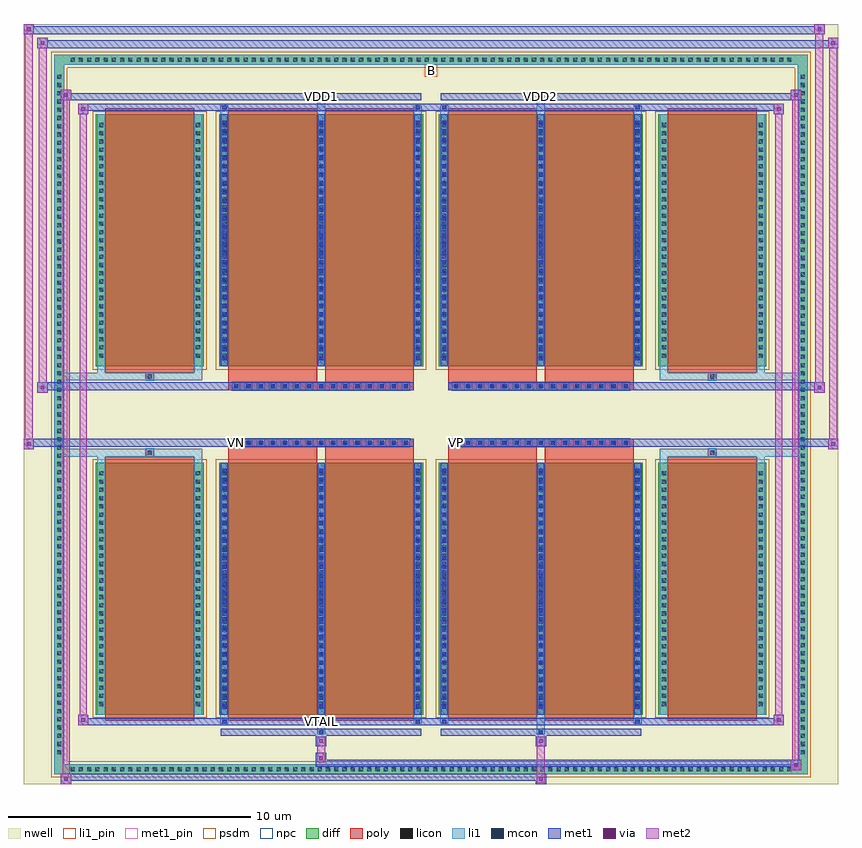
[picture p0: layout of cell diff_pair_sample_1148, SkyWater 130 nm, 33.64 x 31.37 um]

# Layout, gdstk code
import gdstk
lib = gdstk.Library(unit=1e-6, precision=5e-09)
def R(c, l, rs):  # rectangles x0, y0, x1, y1
    for r in rs: c.add(gdstk.rectangle(r[:2], r[2:], *l))
def A(c, l, x, y, w, h, nx, ny, dx, dy):  # array of equal rectangles
    R(c, l, [(x+i*dx, y+j*dy, x+i*dx+w, y+j*dy+h) for i in range(nx) for j in range(ny)])
def P(c, l, *ps):  # polygons
    for p in ps: c.add(gdstk.Polygon(p, *l))
nwell = (64, 20)
diff = (65, 20)
poly = (66, 20)
licon = (66, 44)
li1_pin = (67, 16)
li1 = (67, 20)
mcon = (67, 44)
met1_pin = (68, 16)
met1 = (68, 20)
via = (68, 44)
met2 = (69, 20)
psdm = (94, 20)
npc = (95, 20)

diff_pair_sample_1148 = lib.new_cell('diff_pair_sample_1148')
R(diff_pair_sample_1148, nwell, [(-16.82,-15.25,16.82,16.12), (-14.14,-13.44,-0.01,-0.8), (0.01,-13.44,14.14,-0.8), (-14.14,0.8,-0.01,13.44), (0.01,0.8,14.14,13.44)])
A(diff_pair_sample_1148, diff, -14.995, -14.85, 0.41, 0.41, 88, 2, 0.34, 29.29)
A(diff_pair_sample_1148, diff, -15.55, -14.145, 0.41, 0.41, 1, 83, 0, 0.34)
A(diff_pair_sample_1148, diff, 15.14, -14.145, 0.41, 0.41, 1, 83, 0, 0.34)
R(diff_pair_sample_1148, diff, [(-14.995,-14.85,14.995,-14.44), (-15.55,-14.145,-15.14,14.145), (15.14,-14.145,15.55,14.145), (-13.83,-12.395,-9.39,-1.985), (-8.75,-12.395,-0.32,-1.985), (0.32,-12.395,8.75,-1.985), (9.39,-12.395,13.83,-1.985), (-13.83,1.985,-9.39,12.395), (-8.75,1.985,-0.32,12.395), (0.32,1.985,8.75,12.395), (9.39,1.985,13.83,12.395), (-14.995,14.44,14.995,14.85)])
P(diff_pair_sample_1148, diff, [(15.55,14.85),(-15.55,14.85),(-15.55,-14.44),(-15.14,-14.44),(-15.14,14.44),(15.14,14.44),(15.14,-14.44),(-15.14,-14.44),(-15.55,-14.44),(-15.55,-14.85),(15.55,-14.85)])
A(diff_pair_sample_1148, poly, -8.2, -1.33, 0.33, 0.33, 15, 2, 0.5, 2.33)
A(diff_pair_sample_1148, poly, 0.87, -1.33, 0.33, 0.33, 15, 2, 0.5, 2.33)
R(diff_pair_sample_1148, poly, [(-13.44,-12.645,-9.78,-1.735), (-8.36,-12.645,-4.7,-1.735), (-4.37,-12.645,-0.71,-1.735), (0.71,-12.645,4.37,-1.735), (4.7,-12.645,8.36,-1.735), (9.78,-12.645,13.44,-1.735), (-11.775,-1.735,-11.445,-1.405), (-11.775,-1.735,-11.445,-1.405), (-8.36,-1.735,-4.7,-1.33), (-4.37,-1.735,-0.71,-1.33), (0.71,-1.735,4.37,-1.33), (4.7,-1.735,8.36,-1.33), (11.445,-1.735,11.775,-1.405), (11.445,-1.735,11.775,-1.405), (-8.36,-1.33,-0.71,-1), (0.71,-1.33,8.36,-1), (-8.36,1,-0.71,1.33), (0.71,1,8.36,1.33), (-8.36,1.33,-4.7,1.735), (-4.37,1.33,-0.71,1.735), (0.71,1.33,4.37,1.735), (4.7,1.33,8.36,1.735), (-11.775,1.405,-11.445,1.735), (-11.775,1.405,-11.445,1.735), (11.445,1.405,11.775,1.735), (11.445,1.405,11.775,1.735), (-13.44,1.735,-9.78,12.645), (-8.36,1.735,-4.7,12.645), (-4.37,1.735,-0.71,12.645), (0.71,1.735,4.37,12.645), (4.7,1.735,8.36,12.645), (9.78,1.735,13.44,12.645)])
A(diff_pair_sample_1148, licon, -14.875, -14.73, 0.17, 0.17, 88, 2, 0.34, 29.29)
A(diff_pair_sample_1148, licon, -15.43, -14.025, 0.17, 0.17, 1, 83, 0, 0.34)
A(diff_pair_sample_1148, licon, 15.26, -14.025, 0.17, 0.17, 1, 83, 0, 0.34)
A(diff_pair_sample_1148, licon, -13.69, -12.035, 0.17, 0.17, 1, 29, 0, 0.34)
A(diff_pair_sample_1148, licon, -9.7, -12.035, 0.17, 0.17, 1, 29, 0, 0.34)
A(diff_pair_sample_1148, licon, -8.61, -12.035, 0.17, 0.17, 3, 29, 3.99, 0.34)
A(diff_pair_sample_1148, licon, 0.46, -12.035, 0.17, 0.17, 3, 29, 3.99, 0.34)
A(diff_pair_sample_1148, licon, 9.53, -12.035, 0.17, 0.17, 1, 29, 0, 0.34)
A(diff_pair_sample_1148, licon, 13.52, -12.035, 0.17, 0.17, 1, 29, 0, 0.34)
A(diff_pair_sample_1148, licon, -8.12, -1.25, 0.17, 0.17, 15, 2, 0.5, 2.33)
A(diff_pair_sample_1148, licon, 0.95, -1.25, 0.17, 0.17, 15, 2, 0.5, 2.33)
A(diff_pair_sample_1148, licon, -13.69, 2.345, 0.17, 0.17, 1, 29, 0, 0.34)
A(diff_pair_sample_1148, licon, -9.7, 2.345, 0.17, 0.17, 1, 29, 0, 0.34)
A(diff_pair_sample_1148, licon, -8.61, 2.345, 0.17, 0.17, 3, 29, 3.99, 0.34)
A(diff_pair_sample_1148, licon, 0.46, 2.345, 0.17, 0.17, 3, 29, 3.99, 0.34)
A(diff_pair_sample_1148, licon, 9.53, 2.345, 0.17, 0.17, 1, 29, 0, 0.34)
A(diff_pair_sample_1148, licon, 13.52, 2.345, 0.17, 0.17, 1, 29, 0, 0.34)
R(diff_pair_sample_1148, licon, [(-11.695,-1.655,-11.525,-1.485), (11.525,-1.655,11.695,-1.485), (-11.695,1.485,-11.525,1.655), (11.525,1.485,11.695,1.655)])
R(diff_pair_sample_1148, li1_pin, [(-0.25,13.94,0.25,14.44)])
A(diff_pair_sample_1148, li1, -14.955, -14.81, 0.33, 0.33, 88, 2, 0.34, 29.29)
A(diff_pair_sample_1148, li1, -15.51, -14.105, 0.33, 0.33, 1, 83, 0, 0.34)
A(diff_pair_sample_1148, li1, 15.18, -14.105, 0.33, 0.33, 1, 83, 0, 0.34)
A(diff_pair_sample_1148, li1, -8.69, -12.395, 0.33, 10.41, 3, 2, 3.99, 14.38)
A(diff_pair_sample_1148, li1, 0.38, -12.395, 0.33, 10.41, 3, 2, 3.99, 14.38)
A(diff_pair_sample_1148, li1, -8.61, -12.135, 0.17, 0.17, 3, 28, 3.99, 0.36)
A(diff_pair_sample_1148, li1, -8.61, -12.135, 0.17, 9.89, 3, 2, 3.99, 14.38)
A(diff_pair_sample_1148, li1, 0.46, -12.135, 0.17, 0.17, 3, 28, 3.99, 0.36)
A(diff_pair_sample_1148, li1, 0.46, -12.135, 0.17, 9.89, 3, 2, 3.99, 14.38)
A(diff_pair_sample_1148, li1, -13.77, -12.115, 0.33, 0.33, 1, 29, 0, 0.34)
A(diff_pair_sample_1148, li1, -9.78, -12.115, 0.33, 0.33, 1, 29, 0, 0.34)
A(diff_pair_sample_1148, li1, -8.69, -12.115, 0.33, 0.33, 3, 29, 3.99, 0.34)
A(diff_pair_sample_1148, li1, 0.38, -12.115, 0.33, 0.33, 3, 29, 3.99, 0.34)
A(diff_pair_sample_1148, li1, 9.45, -12.115, 0.33, 0.33, 1, 29, 0, 0.34)
A(diff_pair_sample_1148, li1, 13.44, -12.115, 0.33, 0.33, 1, 29, 0, 0.34)
A(diff_pair_sample_1148, li1, -8.2, -1.33, 0.33, 0.33, 15, 2, 0.5, 2.33)
A(diff_pair_sample_1148, li1, 0.87, -1.33, 0.33, 0.33, 15, 2, 0.5, 2.33)
A(diff_pair_sample_1148, li1, -8.61, 2.245, 0.17, 0.17, 3, 28, 3.99, 0.36)
A(diff_pair_sample_1148, li1, 0.46, 2.245, 0.17, 0.17, 3, 28, 3.99, 0.36)
A(diff_pair_sample_1148, li1, -13.77, 2.265, 0.33, 0.33, 1, 29, 0, 0.34)
A(diff_pair_sample_1148, li1, -9.78, 2.265, 0.33, 0.33, 1, 29, 0, 0.34)
A(diff_pair_sample_1148, li1, -8.69, 2.265, 0.33, 0.33, 3, 29, 3.99, 0.34)
A(diff_pair_sample_1148, li1, 0.38, 2.265, 0.33, 0.33, 3, 29, 3.99, 0.34)
A(diff_pair_sample_1148, li1, 9.45, 2.265, 0.33, 0.33, 1, 29, 0, 0.34)
A(diff_pair_sample_1148, li1, 13.44, 2.265, 0.33, 0.33, 1, 29, 0, 0.34)
R(diff_pair_sample_1148, li1, [(-15.55,-14.85,-15.14,-14.44), (-15.55,-14.85,-15.14,-14.44), (-15.14,-14.85,15.14,-14.44), (15.14,-14.85,15.55,-14.44), (15.14,-14.85,15.55,-14.44), (-15.55,-14.44,-15.14,14.44), (15.14,-14.44,15.55,14.44), (-4.7,-13.2,-4.37,-12.395), (-4.62,-13.2,-4.45,-13.03), (4.37,-13.2,4.7,-12.395), (4.45,-13.2,4.62,-13.03), (-8.69,-12.77,-8.36,-12.395), (-8.61,-12.77,-8.44,-12.6), (-0.71,-12.77,-0.38,-12.395), (-0.63,-12.77,-0.46,-12.6), (0.38,-12.77,0.71,-12.395), (0.46,-12.77,0.63,-12.6), (8.36,-12.77,8.69,-12.395), (8.44,-12.77,8.61,-12.6), (-13.77,-12.395,-13.44,-1.985), (-9.78,-12.395,-9.45,-1.985), (9.45,-12.395,9.78,-1.985), (13.44,-12.395,13.77,-1.985), (-13.77,-1.985,-13.44,-1.405), (-9.78,-1.985,-9.45,-1.405), (9.45,-1.985,9.78,-1.405), (13.44,-1.985,13.77,-1.405), (-15.55,-1.735,-11.775,-1.405), (-13.77,-1.735,-11.775,-1.405), (-11.775,-1.735,-11.445,-1.405), (-11.445,-1.735,-9.45,-1.405), (9.45,-1.735,11.445,-1.405), (11.445,-1.735,11.775,-1.405), (11.445,-1.735,15.55,-1.405), (11.775,-1.735,13.77,-1.405), (-15.55,1.405,-11.775,1.735), (-13.77,1.405,-11.775,1.735), (-13.77,1.405,-13.44,1.985), (-11.775,1.405,-11.445,1.735), (-11.445,1.405,-9.45,1.735), (-9.78,1.405,-9.45,1.985), (9.45,1.405,11.445,1.735), (9.45,1.405,9.78,1.985), (11.445,1.405,11.775,1.735), (11.445,1.405,15.55,1.735), (11.775,1.405,13.77,1.735), (13.44,1.405,13.77,1.985), (-13.77,1.985,-13.44,12.395), (-9.78,1.985,-9.45,12.395), (9.45,1.985,9.78,12.395), (13.44,1.985,13.77,12.395), (-8.69,12.395,-8.36,12.77), (-4.7,12.395,-4.37,13.2), (-0.71,12.395,-0.38,12.77), (0.38,12.395,0.71,12.77), (4.37,12.395,4.7,13.2), (8.36,12.395,8.69,12.77), (-8.61,12.6,-8.44,12.77), (-0.63,12.6,-0.46,12.77), (0.46,12.6,0.63,12.77), (8.44,12.6,8.61,12.77), (-4.62,13.03,-4.45,13.2), (4.45,13.03,4.62,13.2), (-15.55,14.44,-15.14,14.85), (-15.55,14.44,-15.14,14.85), (-15.14,14.44,15.14,14.85), (15.14,14.44,15.55,14.85), (15.14,14.44,15.55,14.85)])
A(diff_pair_sample_1148, mcon, -8.61, -12.135, 0.17, 0.17, 3, 28, 3.99, 0.36)
A(diff_pair_sample_1148, mcon, 0.46, -12.135, 0.17, 0.17, 3, 28, 3.99, 0.36)
A(diff_pair_sample_1148, mcon, -8.12, -1.25, 0.17, 0.17, 15, 2, 0.5, 2.33)
A(diff_pair_sample_1148, mcon, 0.95, -1.25, 0.17, 0.17, 15, 2, 0.5, 2.33)
A(diff_pair_sample_1148, mcon, -8.61, 2.245, 0.17, 0.17, 3, 28, 3.99, 0.36)
A(diff_pair_sample_1148, mcon, 0.46, 2.245, 0.17, 0.17, 3, 28, 3.99, 0.36)
R(diff_pair_sample_1148, mcon, [(-4.62,-13.2,-4.45,-13.03), (4.45,-13.2,4.62,-13.03), (-8.61,-12.77,-8.44,-12.6), (-0.63,-12.77,-0.46,-12.6), (0.46,-12.77,0.63,-12.6), (8.44,-12.77,8.61,-12.6), (-8.61,12.6,-8.44,12.77), (-0.63,12.6,-0.46,12.77), (0.46,12.6,0.63,12.77), (8.44,12.6,8.61,12.77), (-4.62,13.03,-4.45,13.2), (4.45,13.03,4.62,13.2)])
R(diff_pair_sample_1148, met1_pin, [(-4.67,-12.81,-4.4,-12.54), (-8.17,-1.29,-7.9,-1.02), (0.9,-1.29,1.17,-1.02), (-4.67,12.99,-4.4,13.26), (4.4,12.99,4.67,13.26)])
A(diff_pair_sample_1148, met1, -8.67, -12.395, 0.29, 10.41, 3, 2, 3.99, 14.38)
A(diff_pair_sample_1148, met1, 0.4, -12.395, 0.29, 10.41, 3, 2, 3.99, 14.38)
A(diff_pair_sample_1148, met1, -8.67, -12.195, 0.29, 0.29, 3, 28, 3.99, 0.36)
A(diff_pair_sample_1148, met1, 0.4, -12.195, 0.29, 0.29, 3, 28, 3.99, 0.36)
A(diff_pair_sample_1148, met1, -8.18, -1.31, 0.29, 0.29, 15, 2, 0.5, 2.33)
A(diff_pair_sample_1148, met1, 0.89, -1.31, 0.29, 0.29, 15, 2, 0.5, 2.33)
A(diff_pair_sample_1148, met1, -8.67, 2.185, 0.29, 0.29, 3, 28, 3.99, 0.36)
A(diff_pair_sample_1148, met1, 0.4, 2.185, 0.29, 0.29, 3, 28, 3.99, 0.36)
R(diff_pair_sample_1148, met1, [(-15.28,-15.25,-14.85,-14.82), (4.32,-15.25,4.75,-14.82), (-15.28,-15.11,4.75,-14.82), (14.85,-14.68,15.28,-14.25), (-4.75,-14.54,15.28,-14.25), (-4.75,-14.4,-4.32,-13.97), (-4.75,-13.69,-4.32,-13.26), (4.32,-13.69,4.75,-13.26), (-8.67,-13.26,-0.4,-12.97), (-4.68,-13.26,-4.39,-12.97), (0.4,-13.26,8.67,-12.97), (4.39,-13.26,4.68,-12.97), (-14.57,-12.83,-14.14,-12.4), (-14.57,-12.83,-8.67,-12.54), (-8.67,-12.83,-8.38,-12.54), (-8.67,-12.83,-0.4,-12.54), (-0.69,-12.83,-0.4,-12.54), (-0.4,-12.83,0.4,-12.54), (0.4,-12.83,0.69,-12.54), (0.4,-12.83,8.67,-12.54), (8.38,-12.83,8.67,-12.54), (8.67,-12.83,14.57,-12.54), (14.14,-12.83,14.57,-12.4), (-16.82,-1.43,-16.39,-1), (16.39,-1.43,16.82,-1), (-16.82,-1.33,-0.71,-1), (-8.36,-1.33,-0.71,-1), (0.71,-1.33,8.36,-1), (0.71,-1.33,16.82,-1), (-16.25,0.9,-15.82,1.33), (15.82,0.9,16.25,1.33), (-16.25,1,-8.36,1.33), (-8.36,1,-0.71,1.33), (0.71,1,8.36,1.33), (8.36,1,16.25,1.33), (-14.57,12.4,-14.14,12.83), (14.14,12.4,14.57,12.83), (-14.57,12.54,-8.67,12.83), (-8.67,12.54,-8.38,12.83), (-8.67,12.54,-0.4,12.83), (-0.69,12.54,-0.4,12.83), (-0.4,12.54,0.4,12.83), (0.4,12.54,0.69,12.83), (0.4,12.54,8.67,12.83), (8.38,12.54,8.67,12.83), (8.67,12.54,14.57,12.83), (-15.28,12.97,-14.85,13.4), (-15.28,12.97,-8.67,13.26), (-8.67,12.97,-0.4,13.26), (-4.68,12.97,-4.39,13.26), (0.4,12.97,8.67,13.26), (4.39,12.97,4.68,13.26), (8.67,12.97,15.28,13.26), (14.85,12.97,15.28,13.4), (-16.25,15.12,-15.82,15.55), (-16.25,15.12,-14.14,15.45), (-14.14,15.12,14.14,15.45), (14.14,15.12,16.82,15.45), (16.39,15.12,16.82,15.55), (-16.82,15.69,-16.39,16.12), (-16.82,15.69,-14.14,16.02), (-14.14,15.69,14.14,16.02), (14.14,15.69,16.25,16.02), (15.82,15.69,16.25,16.12)])
R(diff_pair_sample_1148, via, [(-15.14,-15.11,-14.99,-14.96), (4.46,-15.11,4.61,-14.96), (14.99,-14.54,15.14,-14.39), (-4.61,-14.26,-4.46,-14.11), (-4.61,-13.55,-4.46,-13.4), (4.46,-13.55,4.61,-13.4), (-14.43,-12.69,-14.28,-12.54), (14.28,-12.69,14.43,-12.54), (-16.68,-1.29,-16.53,-1.14), (16.53,-1.29,16.68,-1.14), (-16.11,1.04,-15.96,1.19), (15.96,1.04,16.11,1.19), (-14.43,12.54,-14.28,12.69), (14.28,12.54,14.43,12.69), (-15.14,13.11,-14.99,13.26), (14.99,13.11,15.14,13.26), (-16.11,15.26,-15.96,15.41), (16.53,15.26,16.68,15.41), (-16.68,15.83,-16.53,15.98), (15.96,15.83,16.11,15.98)])
R(diff_pair_sample_1148, met2, [(-15.28,-15.25,-14.85,-14.82), (-15.21,-15.25,-14.92,13.4), (-14.92,-15.25,-14.85,-14.82), (-15.23,-15.2,-14.9,-14.87), (4.37,-15.2,4.7,-14.87), (4.37,-14.87,4.7,-13.64), (14.85,-14.68,15.28,-14.25), (14.92,-14.68,15.21,13.4), (15.21,-14.68,15.28,-14.25), (14.9,-14.63,15.23,-14.3), (-4.7,-14.35,-4.37,-14.02), (-4.7,-14.02,-4.37,-13.64), (-4.7,-13.64,-4.37,-13.31), (4.37,-13.64,4.7,-13.31), (-14.57,-12.83,-14.14,-12.4), (-14.5,-12.83,-14.21,12.83), (-14.21,-12.83,-14.14,-12.4), (14.14,-12.83,14.57,-12.4), (14.21,-12.83,14.5,12.83), (14.5,-12.83,14.57,-12.4), (-14.52,-12.78,-14.19,-12.45), (14.19,-12.78,14.52,-12.45), (-16.82,-1.43,-16.39,-1), (-16.77,-1.43,-16.44,16.12), (-16.44,-1.43,-16.39,-1), (16.39,-1.43,16.82,-1), (16.44,-1.43,16.77,15.55), (16.77,-1.43,16.82,-1), (-16.77,-1.38,-16.44,-1.05), (16.44,-1.38,16.77,-1.05), (-16.25,0.9,-15.82,1.33), (-16.2,0.9,-15.87,15.55), (-15.87,0.9,-15.82,1.33), (15.82,0.9,16.25,1.33), (15.87,0.9,16.2,16.12), (16.2,0.9,16.25,1.33), (-16.2,0.95,-15.87,1.28), (15.87,0.95,16.2,1.28), (-14.57,12.4,-14.14,12.83), (-14.21,12.4,-14.14,12.83), (14.14,12.4,14.57,12.83), (14.5,12.4,14.57,12.83), (-14.52,12.45,-14.19,12.78), (14.19,12.45,14.52,12.78), (-15.28,12.97,-14.85,13.4), (-14.92,12.97,-14.85,13.4), (14.85,12.97,15.28,13.4), (15.21,12.97,15.28,13.4), (-15.23,13.02,-14.9,13.35), (14.9,13.02,15.23,13.35), (-16.25,15.12,-15.82,15.55), (-15.87,15.12,-15.82,15.55), (16.39,15.12,16.82,15.55), (16.77,15.12,16.82,15.55), (-16.2,15.17,-15.87,15.5), (16.44,15.17,16.77,15.5), (-16.82,15.69,-16.39,16.12), (-16.44,15.69,-16.39,16.12), (15.82,15.69,16.25,16.12), (16.2,15.69,16.25,16.12), (-16.77,15.74,-16.44,16.07), (15.87,15.74,16.2,16.07)])
R(diff_pair_sample_1148, psdm, [(-13.96,-12.525,-9.26,-1.855), (-8.88,-12.525,-0.19,-1.855), (0.19,-12.525,8.88,-1.855), (9.26,-12.525,13.96,-1.855), (-13.96,1.855,-9.26,12.525), (-8.88,1.855,-0.19,12.525), (0.19,1.855,8.88,12.525), (9.26,1.855,13.96,12.525)])
P(diff_pair_sample_1148, psdm, [(15.68,14.98),(-15.68,14.98),(-15.68,-14.31),(-15.01,-14.31),(-15.01,14.31),(15.01,14.31),(15.01,-14.31),(-15.01,-14.31),(-15.68,-14.31),(-15.68,-14.98),(15.68,-14.98)])
A(diff_pair_sample_1148, npc, -8.22, -1.35, 0.37, 0.37, 15, 2, 0.5, 2.33)
A(diff_pair_sample_1148, npc, 0.85, -1.35, 0.37, 0.37, 15, 2, 0.5, 2.33)
R(diff_pair_sample_1148, npc, [(-11.795,-1.755,-11.425,-1.385), (11.425,-1.755,11.795,-1.385), (-8.22,-1.35,-7.35,-0.98), (-8.22,-1.35,-7.35,-0.98), (-7.72,-1.35,-6.85,-0.98), (-7.72,-1.35,-6.85,-0.98), (-7.22,-1.35,-6.35,-0.98), (-7.22,-1.35,-6.35,-0.98), (-6.72,-1.35,-5.85,-0.98), (-6.72,-1.35,-5.85,-0.98), (-6.22,-1.35,-5.35,-0.98), (-6.22,-1.35,-5.35,-0.98), (-5.72,-1.35,-4.85,-0.98), (-5.72,-1.35,-4.85,-0.98), (-5.22,-1.35,-4.35,-0.98), (-5.22,-1.35,-4.35,-0.98), (-4.72,-1.35,-3.85,-0.98), (-4.72,-1.35,-3.85,-0.98), (-4.22,-1.35,-3.35,-0.98), (-4.22,-1.35,-3.35,-0.98), (-3.72,-1.35,-2.85,-0.98), (-3.72,-1.35,-2.85,-0.98), (-3.22,-1.35,-2.35,-0.98), (-3.22,-1.35,-2.35,-0.98), (-2.72,-1.35,-1.85,-0.98), (-2.72,-1.35,-1.85,-0.98), (-2.22,-1.35,-1.35,-0.98), (-2.22,-1.35,-1.35,-0.98), (-1.72,-1.35,-0.85,-0.98), (-1.72,-1.35,-0.85,-0.98), (0.85,-1.35,1.72,-0.98), (0.85,-1.35,1.72,-0.98), (1.35,-1.35,2.22,-0.98), (1.35,-1.35,2.22,-0.98), (1.85,-1.35,2.72,-0.98), (1.85,-1.35,2.72,-0.98), (2.35,-1.35,3.22,-0.98), (2.35,-1.35,3.22,-0.98), (2.85,-1.35,3.72,-0.98), (2.85,-1.35,3.72,-0.98), (3.35,-1.35,4.22,-0.98), (3.35,-1.35,4.22,-0.98), (3.85,-1.35,4.72,-0.98), (3.85,-1.35,4.72,-0.98), (4.35,-1.35,5.22,-0.98), (4.35,-1.35,5.22,-0.98), (4.85,-1.35,5.72,-0.98), (4.85,-1.35,5.72,-0.98), (5.35,-1.35,6.22,-0.98), (5.35,-1.35,6.22,-0.98), (5.85,-1.35,6.72,-0.98), (5.85,-1.35,6.72,-0.98), (6.35,-1.35,7.22,-0.98), (6.35,-1.35,7.22,-0.98), (6.85,-1.35,7.72,-0.98), (6.85,-1.35,7.72,-0.98), (7.35,-1.35,8.22,-0.98), (7.35,-1.35,8.22,-0.98), (-8.22,0.98,-7.35,1.35), (-8.22,0.98,-7.35,1.35), (-7.72,0.98,-6.85,1.35), (-7.72,0.98,-6.85,1.35), (-7.22,0.98,-6.35,1.35), (-7.22,0.98,-6.35,1.35), (-6.72,0.98,-5.85,1.35), (-6.72,0.98,-5.85,1.35), (-6.22,0.98,-5.35,1.35), (-6.22,0.98,-5.35,1.35), (-5.72,0.98,-4.85,1.35), (-5.72,0.98,-4.85,1.35), (-5.22,0.98,-4.35,1.35), (-5.22,0.98,-4.35,1.35), (-4.72,0.98,-3.85,1.35), (-4.72,0.98,-3.85,1.35), (-4.22,0.98,-3.35,1.35), (-4.22,0.98,-3.35,1.35), (-3.72,0.98,-2.85,1.35), (-3.72,0.98,-2.85,1.35), (-3.22,0.98,-2.35,1.35), (-3.22,0.98,-2.35,1.35), (-2.72,0.98,-1.85,1.35), (-2.72,0.98,-1.85,1.35), (-2.22,0.98,-1.35,1.35), (-2.22,0.98,-1.35,1.35), (-1.72,0.98,-0.85,1.35), (-1.72,0.98,-0.85,1.35), (0.85,0.98,1.72,1.35), (0.85,0.98,1.72,1.35), (1.35,0.98,2.22,1.35), (1.35,0.98,2.22,1.35), (1.85,0.98,2.72,1.35), (1.85,0.98,2.72,1.35), (2.35,0.98,3.22,1.35), (2.35,0.98,3.22,1.35), (2.85,0.98,3.72,1.35), (2.85,0.98,3.72,1.35), (3.35,0.98,4.22,1.35), (3.35,0.98,4.22,1.35), (3.85,0.98,4.72,1.35), (3.85,0.98,4.72,1.35), (4.35,0.98,5.22,1.35), (4.35,0.98,5.22,1.35), (4.85,0.98,5.72,1.35), (4.85,0.98,5.72,1.35), (5.35,0.98,6.22,1.35), (5.35,0.98,6.22,1.35), (5.85,0.98,6.72,1.35), (5.85,0.98,6.72,1.35), (6.35,0.98,7.22,1.35), (6.35,0.98,7.22,1.35), (6.85,0.98,7.72,1.35), (6.85,0.98,7.72,1.35), (7.35,0.98,8.22,1.35), (7.35,0.98,8.22,1.35), (-11.795,1.385,-11.425,1.755), (11.425,1.385,11.795,1.755)])
diff_pair_sample_1148.add(gdstk.Label('VTAIL', (-4.535,-12.675), layer=68, texttype=5))
diff_pair_sample_1148.add(gdstk.Label('VN', (-8.035,-1.155), layer=68, texttype=5))
diff_pair_sample_1148.add(gdstk.Label('VP', (1.035,-1.155), layer=68, texttype=5))
diff_pair_sample_1148.add(gdstk.Label('B', (0,14.19), layer=67, texttype=5))
diff_pair_sample_1148.add(gdstk.Label('VDD2', (4.535,13.125), layer=68, texttype=5))
diff_pair_sample_1148.add(gdstk.Label('VDD1', (-4.535,13.125), layer=68, texttype=5))

lib.write_gds('diff_pair_sample_1148.gds')
